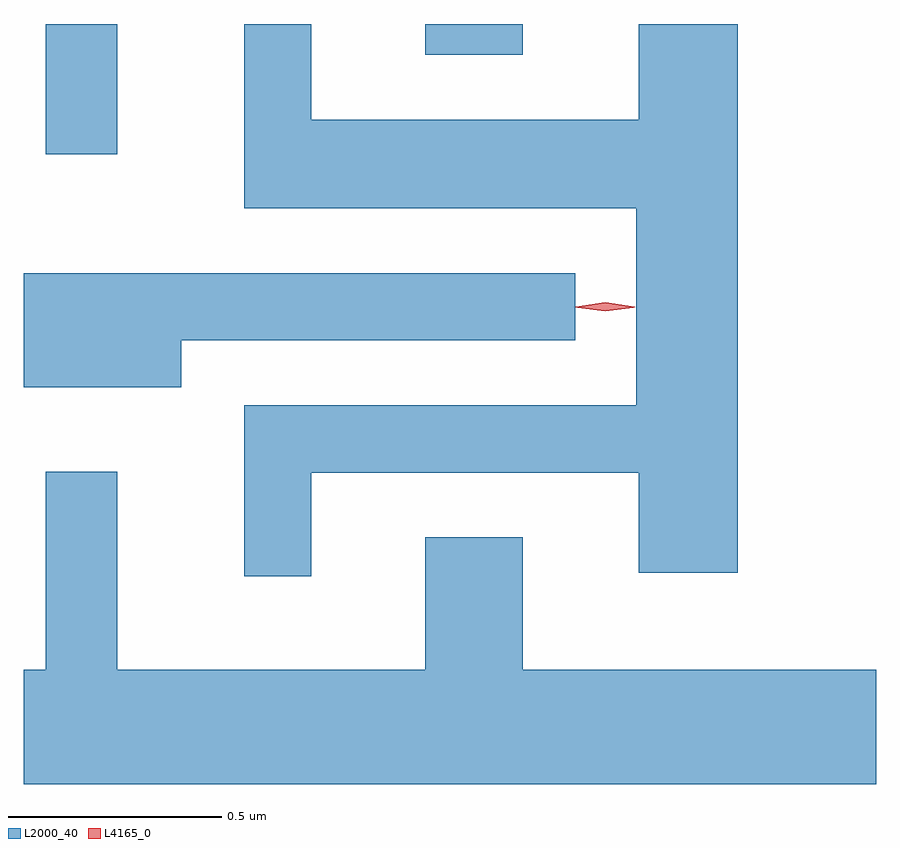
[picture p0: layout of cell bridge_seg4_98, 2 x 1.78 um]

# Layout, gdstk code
import gdstk
lib = gdstk.Library(unit=1e-6, precision=1e-09)
def R(c, l, rs):  # rectangles x0, y0, x1, y1
    for r in rs: c.add(gdstk.rectangle(r[:2], r[2:], *l))
def P(c, l, *ps):  # polygons
    for p in ps: c.add(gdstk.Polygon(p, *l))
L2000_40 = (2000, 40)
L4165_0 = (4165, 0)

bridge_seg4_98 = lib.new_cell('bridge_seg4_98')
R(bridge_seg4_98, L2000_40, [(981.991,1362.813,982.159,1363.118), (982.881,1363.046,983.109,1363.118)])
P(bridge_seg4_98, L2000_40, [(982.614,1362.066),(983.381,1362.066),(983.381,1361.831),(983.614,1361.831),(983.614,1363.118),(983.381,1363.118),(983.381,1362.894),(982.614,1362.894),(982.614,1363.118),(982.456,1363.118),(982.456,1362.686),(983.376,1362.686),(983.376,1362.224),(982.456,1362.224),(982.456,1361.823),(982.614,1361.823)],
  [(982.309,1362.376),(983.233,1362.376),(983.233,1362.534),(981.939,1362.534),(981.939,1362.276),(981.94,1362.276),(981.94,1362.266),(982.309,1362.266)],
  [(983.939,1361.604),(983.109,1361.604),(983.109,1361.914),(982.881,1361.914),(982.881,1361.604),(982.159,1361.604),(982.159,1362.068),(981.991,1362.068),(981.991,1361.604),(981.939,1361.604),(981.939,1361.336),(983.939,1361.336)])
P(bridge_seg4_98, L4165_0, [(983.303,1362.445),(983.234,1362.454),(983.233,1362.455),(983.234,1362.455),(983.303,1362.465),(983.372,1362.455),(983.372,1362.455),(983.372,1362.454)],
  [(983.303,1362.444),(983.238,1362.453),(983.237,1362.454),(983.238,1362.454),(983.303,1362.464),(983.369,1362.454),(983.37,1362.454),(983.369,1362.453)])

lib.write_gds('bridge_seg4_98.gds')
